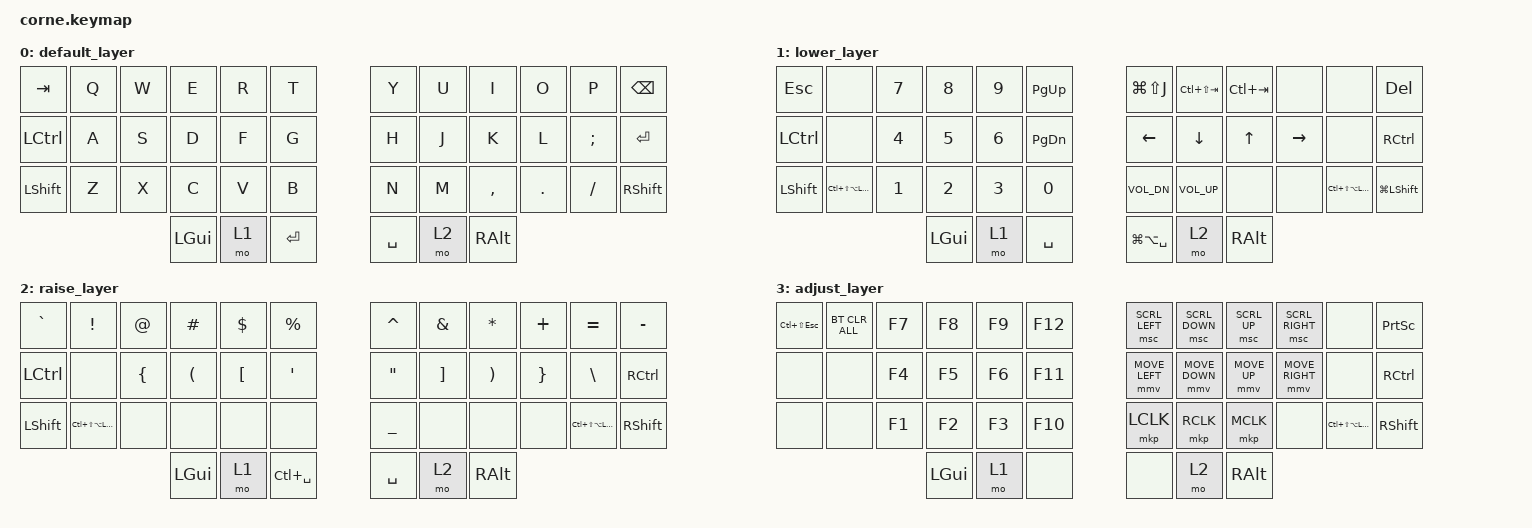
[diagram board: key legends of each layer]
/*
 * Copyright (c) 2020 The ZMK Contributors
 *
 * SPDX-License-Identifier: MIT
 */

#define ZMK_POINTING_DEFAULT_MOVE_VAL 1500
#define ZMK_POINTING_DEFAULT_SCRL_VAL 25

#include <behaviors.dtsi>
#include <dt-bindings/zmk/keys.h>
#include <dt-bindings/zmk/bt.h>
#include <dt-bindings/zmk/pointing.h>

#define LOWER   1
#define RAISE   2

/ {
    keymap {
        compatible = "zmk,keymap";

        default_layer {
            bindings = <
&kp TAB    &kp Q  &kp W  &kp E     &kp R  &kp T        &kp Y      &kp U  &kp I      &kp O    &kp P     &kp BSPC
&kp LCTRL  &kp A  &kp S  &kp D     &kp F  &kp G        &kp H      &kp J  &kp K      &kp L    &kp SEMI  &kp RET
&kp LSHFT  &kp Z  &kp X  &kp C     &kp V  &kp B        &kp N      &kp M  &kp COMMA  &kp DOT  &kp FSLH  &kp RSHFT
                         &kp LGUI  &mo 1  &kp RET    &kp SPACE  &mo 2  &kp RALT
            >;
        };

        lower_layer {
            bindings = <
&kp ESC    &none                 &kp N7  &kp N8    &kp N9  &kp PAGE_UP      &kp LG(LS(J))      &kp LC(LS(TAB))  &kp LC(TAB)  &none      &none                 &kp DELETE
&kp LCTRL  &none                 &kp N4  &kp N5    &kp N6  &kp PAGE_DOWN    &kp LEFT           &kp DOWN         &kp UP       &kp RIGHT  &none                 &kp RCTRL
&kp LSHFT  &kp LC(LS(LA(LGUI)))  &kp N1  &kp N2    &kp N3  &kp N0           &kp C_VOL_DN       &kp C_VOL_UP     &none        &none      &kp LC(LS(LA(LGUI)))  &kp LG(LSHFT)
                                         &kp LGUI  &mo 1   &kp SPACE        &kp LG(LA(SPACE))  &mo 2            &kp RALT
            >;
        };

        raise_layer {
            bindings = <
&kp GRAVE  &kp EXCL              &kp AT          &kp POUND             &kp DOLLAR        &kp PERCENT      &kp CARET          &kp AMPS           &kp STAR               &kp PLUS         &kp EQUAL             &kp MINUS
&kp LCTRL  &none                 &kp LEFT_BRACE  &kp LEFT_PARENTHESIS  &kp LEFT_BRACKET  &kp SQT          &kp DOUBLE_QUOTES  &kp RIGHT_BRACKET  &kp RIGHT_PARENTHESIS  &kp RIGHT_BRACE  &kp BACKSLASH         &kp RCTRL
&kp LSHFT  &kp LC(LS(LA(LGUI)))  &none           &none                 &none             &none            &kp UNDER          &none              &none                  &none            &kp LC(LS(LA(LGUI)))  &kp RSHFT
                                                 &kp LGUI              &mo 1             &kp LC(SPACE)    &kp SPACE          &mo 2              &kp RALT
            >;
        };

        adjust_layer {
            bindings = <
&kp LC(LS(ESC))  &bt BT_CLR_ALL  &kp F7  &kp F8    &kp F9  &kp F12    &msc SCRL_LEFT  &msc SCRL_DOWN  &msc SCRL_UP  &msc SCRL_RIGHT  &none                 &kp PRINTSCREEN
&none            &none  &kp F4  &kp F5    &kp F6  &kp F11    &mmv MOVE_LEFT  &mmv MOVE_DOWN  &mmv MOVE_UP  &mmv MOVE_RIGHT  &none                 &kp RCTRL
&none            &none  &kp F1  &kp F2    &kp F3  &kp F10    &mkp LCLK       &mkp RCLK       &mkp MCLK     &none            &kp LC(LS(LA(LGUI)))  &kp RSHFT
                                &kp LGUI  &mo 1   &none      &none           &mo 2           &kp RALT
            >;
        };
    };

    conditional_layers {
        compatible = "zmk,conditional-layers";

        adjust_condition {
            if-layers = <1 2>;
            then-layer = <3>;
        };
    };
};
